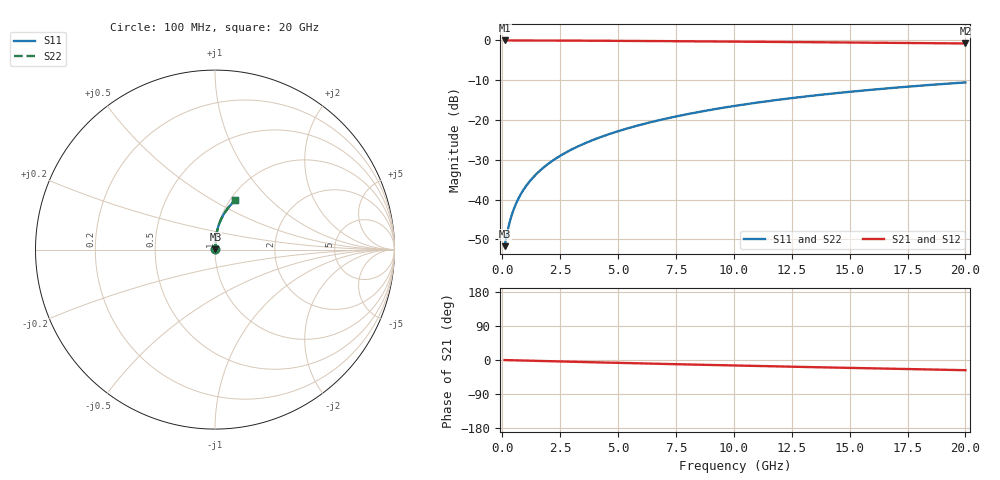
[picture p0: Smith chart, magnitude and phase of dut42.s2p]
! Touchstone file exported from HFSS 2024.1.0
!  File:  C:/UserFiles/LocalFiles/RDL_TSV_Batchsim/temp_RDL_top_42_1778681029.aedt
!  Generated:  10:06:05 PM May 13, 2026
!  Design:  RDL_top
!  Project:  temp_RDL_top_42_1778681029
!  Setup:  Setup1
!  Solution:  Sweep
! Variables:
!  dtsv = 10.80580581um
!  hbump = 3um
!  htsv = 65.14um
!  ldown = 100um
!  lrdl = 333.7um
!  p = 40
!  p1 = 51.97um
!  rhole = 1um
!  t = 450um
!  tdown = 3.915915916um
!  trdl = 3.17um
!  wdown = 15.38538539um
!  wrdl = 19.55um
# GHz S MA R 50.000000
! Terminal data exported
! Port[1] = Box2_T1
! Port[2] = Box2_T2
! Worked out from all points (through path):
!   200 points, 100 MHz to 20 GHz, reference 50 ohm
!   highest |S21| = -0.02 dB at 100 MHz (marker M1); lowest = -0.8 dB at 20 GHz (marker M2)
!   group delay of S21, straight-line fit = 3.71 ps
!   lowest |S11| = -51.7 dB at 100 MHz (marker M3), VSWR 1.01, Z = 50.2 + j0.152 ohm
!   |S11| at or under -10 dB: start of sweep to end of sweep
!   |S22| runs from -51.7 to -10.6 dB; largest |S21 - S12| = 3.9e-15
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0.1  0.002605 35.5  0.9979 -0.2  0.9979 -0.2  0.002605 35.5
! Gamma 0 0 0 0
! Port Impedance 50 0 50 0
0.2  0.003709 53.9  0.9978 -0.3  0.9978 -0.3  0.003709 53.9
0.3  0.004988 63.0  0.9977 -0.5  0.9977 -0.5  0.004988 63.0
0.4  0.006312 68.2  0.9976 -0.6  0.9976 -0.6  0.006312 68.2
0.5  0.007651 71.6  0.9975 -0.8  0.9975 -0.8  0.007651 71.6
0.6  0.008997 74.1  0.9974 -0.9  0.9974 -0.9  0.008997 74.1
0.8  0.01171 77.4  0.9972 -1.3  0.9972 -1.3  0.01171 77.4
1.1  0.01582 80.3  0.9968 -1.7  0.9968 -1.7  0.01582 80.3
1.5  0.02138 82.5  0.9963 -2.3  0.9963 -2.3  0.02138 82.5
1.8  0.02559 83.5  0.9958 -2.8  0.9958 -2.8  0.02558 83.5
2.1  0.02983 84.2  0.9953 -3.3  0.9953 -3.3  0.02983 84.2
2.7  0.0384 85.0  0.994 -4.2  0.994 -4.2  0.0384 85.0
3.5  0.05001 85.4  0.9918 -5.4  0.9918 -5.4  0.05001 85.4
4.2  0.06035 85.4  0.9896 -6.4  0.9896 -6.4  0.06035 85.4
5  0.07235 85.2  0.9868 -7.6  0.9868 -7.6  0.07235 85.2
5.9  0.08605 84.6  0.9833 -8.9  0.9833 -8.9  0.08604 84.6
6.8  0.09992 83.9  0.9796 -10.1  0.9796 -10.1  0.09991 83.9
8.4  0.1248 82.3  0.9726 -12.3  0.9726 -12.3  0.1248 82.3
10.1  0.1514 80.4  0.9647 -14.6  0.9647 -14.6  0.1514 80.4
13.4  0.2021 76.2  0.9488 -18.8  0.9488 -18.8  0.2021 76.2
16.7  0.2508 71.9  0.9322 -22.9  0.9322 -22.9  0.2507 71.9
20  0.2966 67.7  0.9148 -26.9  0.9148 -26.9  0.2966 67.7
